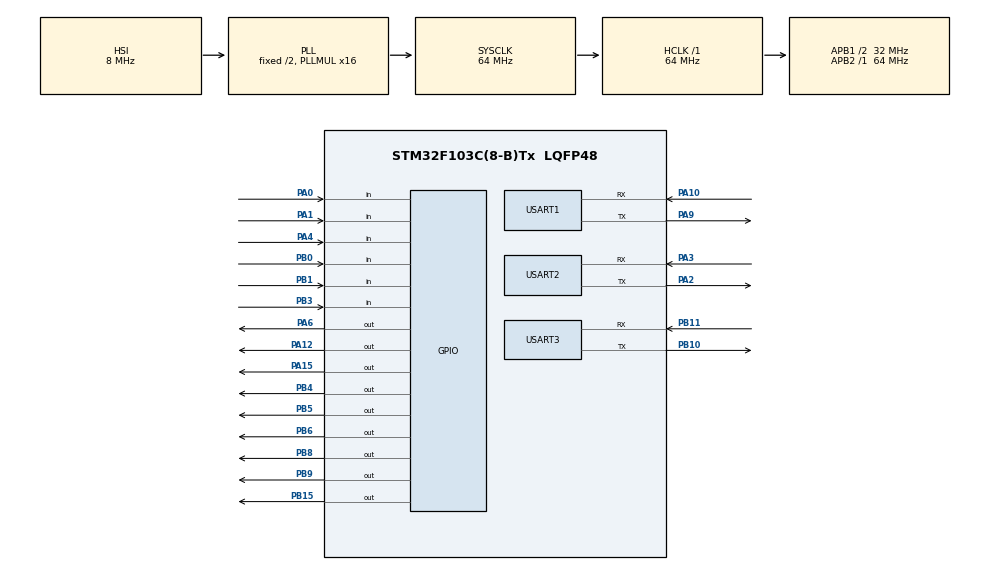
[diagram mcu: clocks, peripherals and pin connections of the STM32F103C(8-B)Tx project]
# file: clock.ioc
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Mcu.Family=STM32F1
Mcu.Name=STM32F103C(8-B)Tx
Mcu.Package=LQFP48
NVIC.PriorityGroup=NVIC_PRIORITYGROUP_4
NVIC.TIM1_BRK_IRQn=true\:9\:0\:true\:false\:true\:true\:true\:true
NVIC.TIM1_CC_IRQn=true\:6\:0\:true\:false\:true\:true\:true\:true
NVIC.TIM1_TRG_COM_IRQn=true\:7\:0\:true\:false\:true\:true\:true\:true
NVIC.TIM1_UP_IRQn=true\:8\:0\:true\:false\:true\:true\:true\:true
NVIC.TIM2_IRQn=true\:5\:0\:true\:false\:true\:true\:true\:true
NVIC.TIM4_IRQn=true\:10\:0\:true\:false\:true\:true\:true\:true
NVIC.USART1_IRQn=true\:11\:0\:true\:false\:true\:true\:true\:true
NVIC.USART2_IRQn=true\:12\:0\:true\:false\:true\:true\:true\:true
NVIC.USART3_IRQn=true\:13\:0\:true\:false\:true\:true\:true\:true
PA0-WKUP.GPIO_PuPd=GPIO_PULLUP
PA0-WKUP.Signal=GPIO_Input
PA1.GPIO_PuPd=GPIO_PULLUP
PA1.Signal=GPIO_Input
PA10.Mode=Asynchronous
PA10.Signal=USART1_RX
PA12.Signal=GPIO_Output
PA13.Mode=Serial_Wire
PA13.Signal=SYS_JTMS-SWDIO
PA14.Mode=Serial_Wire
PA14.Signal=SYS_JTCK-SWCLK
PA15.GPIO_Speed=GPIO_SPEED_FREQ_HIGH
PA15.Signal=GPIO_Output
PA2.Mode=Asynchronous
PA2.Signal=USART2_TX
PA3.Mode=Asynchronous
PA3.Signal=USART2_RX
PA4.GPIO_PuPd=GPIO_PULLUP
PA4.Signal=GPIO_Input
PA6.Signal=GPIO_Output
PA9.Mode=Asynchronous
PA9.Signal=USART1_TX
PB0.GPIO_PuPd=GPIO_PULLUP
PB0.Signal=GPIO_Input
PB1.GPIO_PuPd=GPIO_PULLUP
PB1.Signal=GPIO_Input
PB10.Mode=Asynchronous
PB10.Signal=USART3_TX
PB11.Mode=Asynchronous
PB11.Signal=USART3_RX
PB15.GPIO_Speed=GPIO_SPEED_FREQ_LOW
PB15.Signal=GPIO_Output
PB3.GPIO_PuPd=GPIO_PULLUP
PB3.Signal=GPIO_Input
PB4.GPIO_Speed=GPIO_SPEED_FREQ_HIGH
PB4.Signal=GPIO_Output
PB5.GPIO_Speed=GPIO_SPEED_FREQ_HIGH
PB5.Signal=GPIO_Output
PB6.GPIO_Speed=GPIO_SPEED_FREQ_HIGH
PB6.Signal=GPIO_Output
PB8.GPIO_Speed=GPIO_SPEED_FREQ_HIGH
PB8.Signal=GPIO_Output
PB9.GPIO_Speed=GPIO_SPEED_FREQ_HIGH
PB9.Signal=GPIO_Output
ProjectManager.HeapSize=0x200
ProjectManager.StackSize=0x400
ProjectManager.TargetToolchain=EWARM V8.32
RCC.AHBFreq_Value=64000000
RCC.APB1CLKDivider=RCC_HCLK_DIV2
RCC.APB1Freq_Value=32000000
RCC.APB1TimFreq_Value=64000000
RCC.APB2Freq_Value=64000000
RCC.APB2TimFreq_Value=64000000
RCC.HCLKFreq_Value=64000000
RCC.PLLMUL=RCC_PLL_MUL16
RCC.SYSCLKFreq_VALUE=64000000
RCC.SYSCLKSource=RCC_SYSCLKSOURCE_PLLCLK
RCC.USBFreq_Value=64000000
TIM1.AutoReloadPreload=TIM_AUTORELOAD_PRELOAD_ENABLE
TIM1.Period=9999
TIM1.Prescaler=63
TIM2.AutoReloadPreload=TIM_AUTORELOAD_PRELOAD_DISABLE
TIM2.Period=0xffff
TIM2.Prescaler=99
TIM3.AutoReloadPreload=TIM_AUTORELOAD_PRELOAD_ENABLE
TIM3.Period=999
TIM3.Prescaler=10999
TIM4.AutoReloadPreload=TIM_AUTORELOAD_PRELOAD_ENABLE
TIM4.Period=9999
TIM4.Prescaler=63
USART1.VirtualMode=VM_ASYNC
USART2.VirtualMode=VM_ASYNC
USART3.VirtualMode=VM_ASYNC
VP_TIM1_VS_ClockSourceINT.Mode=Internal
VP_TIM2_VS_ClockSourceINT.Mode=Internal
VP_TIM3_VS_ClockSourceINT.Mode=Internal
VP_TIM4_VS_ClockSourceINT.Mode=Internal
board=custom

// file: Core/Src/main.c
/* USER CODE BEGIN Header */
/**
  ******************************************************************************
  * @file           : main.c
  * @brief          : Main program body
  ******************************************************************************
  * @attention
  *
  * Copyright (c) 2025 STMicroelectronics.
  * All rights reserved.
  *
  * This software is licensed under terms that can be found in the LICENSE file
  * in the root directory of this software component.
  * If no LICENSE file comes with this software, it is provided AS-IS.
  *
  ******************************************************************************
  */
/* USER CODE END Header */
#include "main.h"

/* USER CODE BEGIN Includes */
#include "math.h"
#include <stdio.h>
/* USER CODE END Includes */

TIM_HandleTypeDef htim1;
TIM_HandleTypeDef htim2;
TIM_HandleTypeDef htim3;
TIM_HandleTypeDef htim4;

UART_HandleTypeDef huart1;
UART_HandleTypeDef huart2;
UART_HandleTypeDef huart3;

void SystemClock_Config(void);
static void MX_GPIO_Init(void);
static void MX_TIM2_Init(void);
static void MX_TIM1_Init(void);
static void MX_TIM3_Init(void);
static void MX_TIM4_Init(void);
static void MX_USART1_UART_Init(void);
static void MX_USART2_UART_Init(void);
static void MX_USART3_UART_Init(void);

/* USER CODE BEGIN 0 */
#define max 1000
#define min 99
#define PI 3.14159265359
#define dirX_Pin GPIO_PIN_6 // Replace with your actual pin
#define dirY_Pin GPIO_PIN_8 // Replace with your actual pin
#define dirZ_Pin GPIO_PIN_15 // Replace with your actual pin
#define stepX_Pin GPIO_PIN_5 // Replace with your actual pin
#define stepY_Pin GPIO_PIN_9 // Replace with your actual pin
#define stepZ_Pin GPIO_PIN_4 // Replace with your actual pin

#define dirX_GPIO_Port GPIOB // Replace with your actual GPIO port
#define dirY_GPIO_Port GPIOB // Replace with your actual GPIO port
#define dirZ_GPIO_Port GPIOA // Replace with your actual GPIO port
#define stepX_GPIO_Port GPIOB // Replace with your actual GPIO port
#define stepY_GPIO_Port GPIOB // Replace with your actual GPIO port
#define stepZ_GPIO_Port GPIOB // Replace with your actual GPIO port
#define ACCELERATION_STEPS 100 // Replace with your actual GPIO port
#define MAX_SPEED_DELAY 500

uint16_t pwm;
uint8_t run;
float delay_time = 200; // Ð? tr? t?i thi?u trong us
float GX,GY;
float tempx,tempy;
float L1=235;
float L2=212;
int16_t x,y;
int32_t z;
uint8_t stopx,stopy,stopz;
uint8_t data[12];
uint16_t data_size;
uint8_t string[2] ="OK";
void clear_data(uint8_t *arr, int size)
{
  for (int i = 0; i < size; i++)
  {
    arr[i] = 0x00; // Ho?c b?t k? giá tr? nào b?n mu?n d?t l?i
  }
}
void start_status(void)
{
  for(int i=0; i<10;i++)
  {
    HAL_GPIO_WritePin(GPIOA,GPIO_PIN_12,GPIO_PIN_RESET);
    HAL_GPIO_WritePin(GPIOB,GPIO_PIN_15,GPIO_PIN_SET);
    HAL_Delay(100);
    HAL_GPIO_WritePin(GPIOA,GPIO_PIN_12,GPIO_PIN_SET);
    HAL_GPIO_WritePin(GPIOB,GPIO_PIN_15,GPIO_PIN_RESET);
    HAL_Delay(100);
  }
  HAL_GPIO_WritePin(GPIOA,GPIO_PIN_12,GPIO_PIN_SET);
  HAL_GPIO_WritePin(GPIOB,GPIO_PIN_15,GPIO_PIN_SET);
}
void delay_us(uint16_t us)
{
    __HAL_TIM_SET_COUNTER(&htim2, 0);  // Ð?t l?i b? d?m Timer v? 0
    HAL_TIM_Base_Start(&htim2);        // B?t d?u Timer
    while (__HAL_TIM_GET_COUNTER(&htim2) < us);  // Ch? cho d?n khi d?m d? s? micro giây
    HAL_TIM_Base_Stop(&htim2);         // D?ng Timer
}
void move(float angelX, float angelY,float*tempx,float*tempy)
{
		if(angelX!=*tempx)
		{

			angelX=angelX-(*tempx);
			*tempx=angelX+(*tempx);

		}
		else
		{
			angelX=0;
			*tempx=*tempx;
		}
		if(angelY!=*tempy)
		{

			angelY=angelY-(*tempy);
			*tempy=angelY+(*tempy);
		}
		else
		{
			angelY=0;
			*tempy=*tempy;
		}
    float pulseX = fabs(2*angelX) * 31.08;
    float pulseY_ro = fabs(2*angelY) *51.771;
    float pulseY_sup = fabs(2*angelX) *51.771 * 0.532;
    float pulseY;
    float higher_stepper;
    float lower_stepper;

    if (angelX < 0){
        HAL_GPIO_WritePin(dirX_GPIO_Port, dirX_Pin, GPIO_PIN_SET);
        if (angelY <= 0){
            HAL_GPIO_WritePin(dirY_GPIO_Port, dirY_Pin, GPIO_PIN_SET);
            pulseY = pulseY_ro + pulseY_sup;
        }
        if (angelY > 0){
            if (pulseY_ro > pulseY_sup){
                HAL_GPIO_WritePin(dirY_GPIO_Port, dirY_Pin, GPIO_PIN_RESET);
                pulseY = pulseY_ro - pulseY_sup;
            } else {
                HAL_GPIO_WritePin(dirY_GPIO_Port, dirY_Pin, GPIO_PIN_SET);
                pulseY = -pulseY_ro + pulseY_sup;
            }
        }
    } else if (angelX > 0){
        HAL_GPIO_WritePin(dirX_GPIO_Port, dirX_Pin, GPIO_PIN_RESET);
        if (angelY >= 0){
            HAL_GPIO_WritePin(dirY_GPIO_Port, dirY_Pin, GPIO_PIN_RESET);
            pulseY = pulseY_ro + pulseY_sup;
        }
        if (angelY < 0){
            if (pulseY_ro > pulseY_sup){
                HAL_GPIO_WritePin(dirY_GPIO_Port, dirY_Pin, GPIO_PIN_SET);
                pulseY = pulseY_ro - pulseY_sup;
            } else {
                HAL_GPIO_WritePin(dirY_GPIO_Port, dirY_Pin, GPIO_PIN_RESET);
                pulseY = -pulseY_ro + pulseY_sup;
            }
        }
    } else {
        if (angelY < 0){
            HAL_GPIO_WritePin(dirY_GPIO_Port, dirY_Pin, GPIO_PIN_SET);
            pulseY = pulseY_ro + pulseY_sup;
        } else if (angelY > 0){
            HAL_GPIO_WritePin(dirY_GPIO_Port, dirY_Pin, GPIO_PIN_RESET);
            pulseY = pulseY_ro + pulseY_sup;
        }
    }

    int higher_steppin;
    int lower_steppin;

    if (pulseX > pulseY){
        higher_stepper = pulseX;
        lower_stepper = pulseY;
        higher_steppin = stepX_Pin;
        lower_steppin = stepY_Pin;
    } else if (pulseX < pulseY){
        higher_stepper = pulseY;
        lower_stepper = pulseX;
        higher_steppin = stepY_Pin;
        lower_steppin = stepX_Pin;
    } else {
        higher_stepper = pulseX;
        lower_stepper = pulseY;
        higher_steppin = stepX_Pin;
        lower_steppin = stepY_Pin;
    }

    float rate = higher_stepper / lower_stepper;
    int temp = 0;
    int steps = (int)higher_stepper;

    for (int i = 0; i <= steps; i++){
        if(i / rate - temp >= 1){
            HAL_GPIO_WritePin(GPIOB, lower_steppin, GPIO_PIN_SET);
            temp++;
        }
        HAL_GPIO_WritePin(GPIOB, higher_steppin, GPIO_PIN_SET);
        delay_us((uint16_t)delay_time);
        HAL_GPIO_WritePin(GPIOB, higher_steppin, GPIO_PIN_RESET);
        HAL_GPIO_WritePin(GPIOB, lower_steppin, GPIO_PIN_RESET);
        delay_us((uint16_t)delay_time);
    }

}
void movez(int pul)
{
  if(pul<0)
  {
    pul=-pul;
    HAL_GPIO_WritePin(dirZ_GPIO_Port, dirZ_Pin, GPIO_PIN_RESET);
  }
  else
  {
    pul=pul;
    HAL_GPIO_WritePin(dirZ_GPIO_Port, dirZ_Pin, GPIO_PIN_SET);
  }

  for (int i = 0; i <= pul; i++)
  {

        HAL_GPIO_WritePin(stepZ_GPIO_Port, stepZ_Pin, GPIO_PIN_SET);
        delay_us(50);
        HAL_GPIO_WritePin(stepZ_GPIO_Port, stepZ_Pin, GPIO_PIN_RESET);
        delay_us(50);

  }
}
void home(void)
{
  HAL_GPIO_WritePin(dirZ_GPIO_Port, dirZ_Pin, GPIO_PIN_SET);
  for (int i = 0; i <= 1000000; i++)
  {
    if(stopz!=1)
    {
        HAL_GPIO_WritePin(stepZ_GPIO_Port, stepZ_Pin, GPIO_PIN_SET);
        delay_us(20);
        HAL_GPIO_WritePin(stepZ_GPIO_Port, stepZ_Pin, GPIO_PIN_RESET);
        delay_us(20);
    }
    else
    {
      break;
    }
  }

  HAL_GPIO_WritePin(GPIOB, GPIO_PIN_8, GPIO_PIN_RESET);
  for (int i = 0; i <= 1000000; i++)
  {
    if(stopy!=1)
    {
        HAL_GPIO_WritePin(GPIOB, GPIO_PIN_9, GPIO_PIN_SET);
        delay_us(100);
        HAL_GPIO_WritePin(GPIOB, GPIO_PIN_9, GPIO_PIN_RESET);
        delay_us(100);
    }
    else
    {
      break;
    }
  }

  delay_time=55;
  tempx=0;
  tempy=0;
  move(0,-168.4,&tempx,&tempy);

  HAL_GPIO_WritePin(GPIOB, GPIO_PIN_6, GPIO_PIN_SET);
  for (int i = 0; i <= 1000000; i++)
  {
    if(stopx!=1)
    {
        HAL_GPIO_WritePin(GPIOB, GPIO_PIN_5, GPIO_PIN_SET);
        delay_us(250);
        HAL_GPIO_WritePin(GPIOB, GPIO_PIN_5, GPIO_PIN_RESET);
        delay_us(250);
    }
    else
    {
      break;
    }
  }
   HAL_GPIO_WritePin(GPIOB, GPIO_PIN_8, GPIO_PIN_RESET);
  for (int i = 0; i <= 1000000; i++)
  {
    if(stopy!=1)
    {
        HAL_GPIO_WritePin(GPIOB, GPIO_PIN_9, GPIO_PIN_SET);
        delay_us(100);
        HAL_GPIO_WritePin(GPIOB, GPIO_PIN_9, GPIO_PIN_RESET);
        delay_us(100);
    }
    else
    {
      break;
    }
  }
  tempx=0;
  tempy=0;
  delay_time=55;
  move(23.5,-169,&tempx,&tempy);
  tempx=0;
  tempy=0;
  delay_time=70;
}
void inverse_kinematics(float x, float y, float L1, float L2, float *theta1, float *theta2)
{
    // Tính toán hai nghi?m c?a góc th? hai
    float cos_theta2 = (x * x + y * y - L1 * L1 - L2 * L2) / (2 * L1 * L2);
    cos_theta2 = fmin(fmax(cos_theta2, -1.0), 1.0);  // Gi?i h?n giá tr? c?a cos_theta2 t? -1 d?n 1
    float theta2_1 = acos(cos_theta2);
    float theta2_2 = -theta2_1;

    // Tính toán hai nghi?m c?a góc th? nh?t
    float theta1_1 = atan2(y, x) - asin(fmin(fmax((L2 * sin(theta2_1)) / sqrt(x * x + y * y), -1.0), 1.0));
    float theta1_2 = atan2(y, x) - asin(fmin(fmax((L2 * sin(theta2_2)) / sqrt(x * x + y * y), -1.0), 1.0));

    // Chuy?n d?i góc t? radian sang d?
    float theta1_1_deg = theta1_1 * 180.0 / PI;
    float theta2_1_deg = theta2_1 * 180.0 / PI;
    float theta1_2_deg = theta1_2 * 180.0 / PI;
    float theta2_2_deg = theta2_2 * 180.0 / PI;

    // Gi?i h?n giá tr? c?a theta1 và theta2 theo yêu c?u
    if (-20 <= theta1_1_deg && theta1_1_deg <= 200 && -170 <= theta2_1_deg && theta2_1_deg <= 170) {
        *theta1 = theta1_1_deg;
        *theta2 = theta2_1_deg;
    } else if (-20 <= theta1_2_deg && theta1_2_deg <= 200 && -170 <= theta2_2_deg && theta2_2_deg <= 170) {
        *theta1 = theta1_2_deg;
        *theta2 = theta2_2_deg;
    } else {
        // N?u không tìm du?c giá tr? th?a mãn, gán giá tr? d?c bi?t
        *theta1 = NAN;
        *theta2 = NAN;
    }
}
void check_ipnut(void)
{
  if(HAL_GPIO_ReadPin(GPIOA,GPIO_PIN_1)==0)
  {
    stopx=1;
  }
  else
  {
    stopx=0;
  }
  if(HAL_GPIO_ReadPin(GPIOA,GPIO_PIN_4)==0)
  {
    stopy=1;
  }
  else
  {
    stopy=0;
  }
  if(HAL_GPIO_ReadPin(GPIOA,GPIO_PIN_0)==0)
  {
    stopz=1;
  }
  else
  {
    stopz=0;
  }
  if(HAL_GPIO_ReadPin(GPIOB,GPIO_PIN_0)==0)
  {
    run=2;
  }

}
void robot_check(void)
{
    if(run!=0)
    {
        HAL_GPIO_WritePin(GPIOB,GPIO_PIN_15,GPIO_PIN_RESET);
    }
    else
    {
        HAL_GPIO_WritePin(GPIOB,GPIO_PIN_15,GPIO_PIN_SET);
    }
    if(run==1)
    {
        inverse_kinematics(x,y,L1,L2,&GX,&GY);
        move(GX,GY,&tempx,&tempy);
        movez(z);
        run=0;
    }
    else if(run==2)
    {
        home();
        run=0;
    }
}
void convert_xy(char dat1, char dat2, int16_t *x, int16_t *y)
{
  if(dat1=='a')
  {
    if(dat2=='1') { *x=112; *y=345; }
    else if(dat2=='2') { *x=111; *y=311; }
    else if(dat2=='3') { *x=113; *y=279; }
    else if(dat2=='4') { *x=113; *y=247; }
    else if(dat2=='5') { *x=113; *y=214; }
    else if(dat2=='6') { *x=116; *y=184; }
    else if(dat2=='7') { *x=114; *y=149; }
    else if(dat2=='8') { *x=111; *y=115; }
  }
  else if(dat1=='b')
  {
    if(dat2=='1') { *x=76; *y=342; }
    else if(dat2=='2') { *x=79; *y=311; }
    else if(dat2=='3') { *x=81; *y=279; }
    else if(dat2=='4') { *x=80; *y=240; }
    else if(dat2=='5') { *x=81; *y=215; }
    else if(dat2=='6') { *x=82; *y=183; }
    else if(dat2=='7') { *x=81; *y=149; }
    else if(dat2=='8') { *x=80; *y=115; }
  }
  else if(dat1=='c')
  {
    if(dat2=='1') { *x=44; *y=342; }
    else if(dat2=='2') { *x=47; *y=312; }
    else if(dat2=='3') { *x=49; *y=280; }
    else if(dat2=='4') { *x=48; *y=250; }
    else if(dat2=='5') { *x=49; *y=218; }
    else if(dat2=='6') { *x=48; *y=185; }
    else if(dat2=='7') { *x=49; *y=151; }
    else if(dat2=='8') { *x=48; *y=118; }
  }
  else if(dat1=='d')
  {
    if(dat2=='1') { *x=12; *y=344; }
    else if(dat2=='2') { *x=14; *y=312; }
    else if(dat2=='3') { *x=16; *y=282; }
    else if(dat2=='4') { *x=16; *y=250; }
    else if(dat2=='5') { *x=15; *y=218; }
    else if(dat2=='6') { *x=15; *y=184; }
    else if(dat2=='7') { *x=16; *y=155; }
    else if(dat2=='8') { *x=16; *y=119; }
  }
  else if(dat1=='e')
  {
    if(dat2=='1') { *x=-23; *y=344; }
    else if(dat2=='2') { *x=-18; *y=312; }
    else if(dat2=='3') { *x=-16; *y=283; }
    else if(dat2=='4') { *x=-18; *y=249; }
    else if(dat2=='5') { *x=-19; *y=218; }
    else if(dat2=='6') { *x=-18; *y=187; }
    else if(dat2=='7') { *x=-18; *y=156; }
    else if(dat2=='8') { *x=-19; *y=120; }
  }
  else if(dat1=='f')
  {
    if(dat2=='1') { *x=-53; *y=344; }
    else if(dat2=='2') { *x=-52; *y=312; }
    else if(dat2=='3') { *x=-50; *y=282; }
    else if(dat2=='4') { *x=-51; *y=250; }
    else if(dat2=='5') { *x=-51; *y=219; }
    else if(dat2=='6') { *x=-51; *y=189; }
    else if(dat2=='7') { *x=-52; *y=155; }
    else if(dat2=='8') { *x=-51; *y=121; }
  }
  else if(dat1=='g')
  {
    if(dat2=='1') { *x=-87; *y=343; }
    else if(dat2=='2') { *x=-84; *y=313; }
    else if(dat2=='3') { *x=-84; *y=282; }
    else if(dat2=='4') { *x=-83; *y=250; }
    else if(dat2=='5') { *x=-85; *y=218; }
    else if(dat2=='6') { *x=-85; *y=189; }
    else if(dat2=='7') { *x=-86; *y=155; }
    else if(dat2=='8') { *x=-85; *y=120; }
  }
  else if(dat1=='h')
  {
    if(dat2=='1') { *x=-117; *y=344; }
    else if(dat2=='2') { *x=-117; *y=312; }
    else if(dat2=='3') { *x=-117; *y=281; }
    else if(dat2=='4') { *x=-116; *y=249; }
    else if(dat2=='5') { *x=-118; *y=220; }
    else if(dat2=='6') { *x=-118; *y=187; }
    else if(dat2=='7') { *x=-119; *y=157; }
    else if(dat2=='8') { *x=-118; *y=120; }
  }
}
uint16_t convert_pos_z(char dat)
{
    switch (dat)
    {
        case 'r' : return 60000;//
        case 'n' : return 60000;
        case 'b' : return 55000;//
        case 'k' : return 46000;//
        case 'q' : return 46000;//
        case 'p' : return 62000;//
        default: return 0;
    }
}
void data_process(void)
{
  if(data[5]=='*')
  {
    /////di toi x,y 1
    convert_xy(data[1],data[2],&x,&y);
    inverse_kinematics(x, y, L1, L2, &GX, &GY);
    move(GX,GY,&tempx,&tempy);
    /////tha ra
    HAL_GPIO_WritePin(GPIOA,GPIO_PIN_6,GPIO_PIN_RESET);

    /////ha xuong
    movez(-convert_pos_z(data[0]));
    /////gap
    HAL_GPIO_WritePin(GPIOA,GPIO_PIN_6,GPIO_PIN_SET);

    /////nang len
    movez(convert_pos_z(data[0]));
    /////di toi x,y 2
    convert_xy(data[3],data[4],&x,&y);
    inverse_kinematics(x, y, L1, L2, &GX, &GY);
    move(GX,GY,&tempx,&tempy);
    /////ha xuong
    movez(-convert_pos_z(data[0]));
    /////tha ra
    HAL_GPIO_WritePin(GPIOA,GPIO_PIN_6,GPIO_PIN_RESET);
    HAL_Delay(1000);
    /////nang len
    movez(convert_pos_z(data[0]));
    //xoa data
    clear_data(data,12);
    HAL_GPIO_WritePin(GPIOA,GPIO_PIN_12,GPIO_PIN_RESET);
    //ve home
    move(0,0,&tempx,&tempy);
    HAL_UART_Transmit(&huart1,string,2,1000);
  }
  else if(data[7]=='*')
  {
    ////di toi x,y 2
    convert_xy(data[5],data[6],&x,&y);
    inverse_kinematics(x, y, L1, L2, &GX, &GY);
    move(GX,GY,&tempx,&tempy);
    /////tha ra
    HAL_GPIO_WritePin(GPIOA,GPIO_PIN_6,GPIO_PIN_RESET);
    /////ha xuong
    movez(-convert_pos_z(data[4]));
    /////gap
    HAL_GPIO_WritePin(GPIOA,GPIO_PIN_6,GPIO_PIN_SET);
    /////nang len
    movez(convert_pos_z(data[4]));
    /////di toi x,y tha co
    move(0,0,&tempx,&tempy);
    /////tha ra
    HAL_GPIO_WritePin(GPIOA,GPIO_PIN_6,GPIO_PIN_RESET);
    ////di toi x,y 1
    convert_xy(data[1],data[2],&x,&y);
    inverse_kinematics(x, y, L1, L2, &GX, &GY);
    move(GX,GY,&tempx,&tempy);
    /////ha xuong
    movez(-convert_pos_z(data[0]));
    /////gap
    HAL_GPIO_WritePin(GPIOA,GPIO_PIN_6,GPIO_PIN_SET);
    /////nang len
    movez(convert_pos_z(data[0]));
    ////di toi x,y 2
    convert_xy(data[5],data[6],&x,&y);
    inverse_kinematics(x, y, L1, L2, &GX, &GY);
    move(GX,GY,&tempx,&tempy);
    /////ha xuong
    movez(-convert_pos_z(data[0]));
    /////tha ra
    HAL_GPIO_WritePin(GPIOA,GPIO_PIN_6,GPIO_PIN_RESET);
    /////nang len
    movez(convert_pos_z(data[0]));
    //xoa data
    clear_data(data,12);
    HAL_GPIO_WritePin(GPIOA,GPIO_PIN_12,GPIO_PIN_RESET);
    //ve home
    move(0,0,&tempx,&tempy);
    HAL_UART_Transmit(&huart1,string,2,1000);
  }
  else if(data[9]=='*')
  {
    /////di toi x,y 1
    convert_xy(data[1],data[2],&x,&y);
    inverse_kinematics(x, y, L1, L2, &GX, &GY);
    move(GX,GY,&tempx,&tempy);
    /////tha ra
    HAL_GPIO_WritePin(GPIOA,GPIO_PIN_6,GPIO_PIN_RESET);
    /////ha xuong
    movez(-convert_pos_z(data[0]));
    /////gap
    HAL_GPIO_WritePin(GPIOA,GPIO_PIN_6,GPIO_PIN_SET);
    /////nang len
    movez(convert_pos_z(data[0]));
    /////di toi x,y 2
    convert_xy(data[3],data[4],&x,&y);
    inverse_kinematics(x, y, L1, L2, &GX, &GY);
    move(GX,GY,&tempx,&tempy);
    /////ha xuong
    movez(-convert_pos_z(data[0]));
    /////tha ra
    HAL_GPIO_WritePin(GPIOA,GPIO_PIN_6,GPIO_PIN_RESET);
    /////nang len
    movez(convert_pos_z(data[0]));
    /////di toi x,y 3
    convert_xy(data[7],data[8],&x,&y);
    inverse_kinematics(x, y, L1, L2, &GX, &GY);
    move(GX,GY,&tempx,&tempy);
    /////tha ra
    HAL_GPIO_WritePin(GPIOA,GPIO_PIN_6,GPIO_PIN_RESET);
    /////ha xuong
    movez(-convert_pos_z(data[6]));
    /////gap
    HAL_GPIO_WritePin(GPIOA,GPIO_PIN_6,GPIO_PIN_SET);
    /////nang len
    movez(convert_pos_z(data[6]));
    /////di toi x,y 4
    convert_xy(data[9],data[10],&x,&y);
    inverse_kinematics(x, y, L1, L2, &GX, &GY);
    move(GX,GY,&tempx,&tempy);
    /////ha xuong
    movez(-convert_pos_z(data[6]));
    /////tha ra
    HAL_GPIO_WritePin(GPIOA,GPIO_PIN_6,GPIO_PIN_RESET);
    /////nang len
    movez(convert_pos_z(data[6]));
    clear_data(data,12);
    HAL_GPIO_WritePin(GPIOA,GPIO_PIN_12,GPIO_PIN_SET);
    //ve home
    move(0,0,&tempx,&tempy);
    HAL_UART_Transmit(&huart1,string,2,1000);
  }
}
void HAL_TIM_PeriodElapsedCallback(TIM_HandleTypeDef *htim)
{
  if(htim->Instance==TIM1)
  {
    check_ipnut();

  }
  if(htim->Instance==TIM4)
  {

  }
}
void HAL_UART_RxCpltCallback(UART_HandleTypeDef *huart)
{
  if (huart->Instance == USART1)
  {
    HAL_UART_Receive_IT(&huart1,data,12);
    HAL_GPIO_WritePin(GPIOA,GPIO_PIN_12,GPIO_PIN_RESET);
  }
}
/* USER CODE END 0 */

int main(void)
{

  /* MCU Configuration--------------------------------------------------------*/

  /* Reset of all peripherals, Initializes the Flash interface and the Systick. */
  HAL_Init();

  /* Configure the system clock */
  SystemClock_Config();

  /* Initialize all configured peripherals */
  MX_GPIO_Init();
  MX_TIM2_Init();
  MX_TIM1_Init();
  MX_TIM3_Init();
  MX_TIM4_Init();
  MX_USART1_UART_Init();
  MX_USART2_UART_Init();
  MX_USART3_UART_Init();
  /* USER CODE BEGIN 2 */
  HAL_TIM_Base_Start_IT(&htim1);
  HAL_TIM_Base_Start_IT(&htim4);

  HAL_UART_Receive_IT(&huart1,data,12);
  start_status();

  /* USER CODE END 2 */

  /* Infinite loop */
  while (1)
  {

    /* USER CODE BEGIN 3 */

   robot_check();
   data_process();

   HAL_Delay(50);

  }
  /* USER CODE END 3 */
}

void SystemClock_Config(void)
{
  RCC_OscInitTypeDef RCC_OscInitStruct = {0};
  RCC_ClkInitTypeDef RCC_ClkInitStruct = {0};

  /** Initializes the RCC Oscillators according to the specified parameters
  * in the RCC_OscInitTypeDef structure.
  */
  RCC_OscInitStruct.OscillatorType = RCC_OSCILLATORTYPE_HSI;
  RCC_OscInitStruct.HSIState = RCC_HSI_ON;
  RCC_OscInitStruct.HSICalibrationValue = RCC_HSICALIBRATION_DEFAULT;
  RCC_OscInitStruct.PLL.PLLState = RCC_PLL_ON;
  RCC_OscInitStruct.PLL.PLLSource = RCC_PLLSOURCE_HSI_DIV2;
  RCC_OscInitStruct.PLL.PLLMUL = RCC_PLL_MUL16;
  if (HAL_RCC_OscConfig(&RCC_OscInitStruct) != HAL_OK)
  {
    Error_Handler();
  }

  /** Initializes the CPU, AHB and APB buses clocks
  */
  RCC_ClkInitStruct.ClockType = RCC_CLOCKTYPE_HCLK|RCC_CLOCKTYPE_SYSCLK
                              |RCC_CLOCKTYPE_PCLK1|RCC_CLOCKTYPE_PCLK2;
  RCC_ClkInitStruct.SYSCLKSource = RCC_SYSCLKSOURCE_PLLCLK;
  RCC_ClkInitStruct.AHBCLKDivider = RCC_SYSCLK_DIV1;
  RCC_ClkInitStruct.APB1CLKDivider = RCC_HCLK_DIV2;
  RCC_ClkInitStruct.APB2CLKDivider = RCC_HCLK_DIV1;

  if (HAL_RCC_ClockConfig(&RCC_ClkInitStruct, FLASH_LATENCY_2) != HAL_OK)
  {
    Error_Handler();
  }
}

static void MX_TIM1_Init(void)
{

  TIM_ClockConfigTypeDef sClockSourceConfig = {0};
  TIM_MasterConfigTypeDef sMasterConfig = {0};

  htim1.Instance = TIM1;
  htim1.Init.Prescaler = 63;
  htim1.Init.CounterMode = TIM_COUNTERMODE_UP;
  htim1.Init.Period = 9999;
  htim1.Init.ClockDivision = TIM_CLOCKDIVISION_DIV1;
  htim1.Init.RepetitionCounter = 0;
  htim1.Init.AutoReloadPreload = TIM_AUTORELOAD_PRELOAD_ENABLE;
  if (HAL_TIM_Base_Init(&htim1) != HAL_OK)
  {
    Error_Handler();
  }
  sClockSourceConfig.ClockSource = TIM_CLOCKSOURCE_INTERNAL;
  if (HAL_TIM_ConfigClockSource(&htim1, &sClockSourceConfig) != HAL_OK)
  {
    Error_Handler();
  }
  sMasterConfig.MasterOutputTrigger = TIM_TRGO_RESET;
  sMasterConfig.MasterSlaveMode = TIM_MASTERSLAVEMODE_DISABLE;
  if (HAL_TIMEx_MasterConfigSynchronization(&htim1, &sMasterConfig) != HAL_OK)
  {
    Error_Handler();
  }

}

static void MX_TIM2_Init(void)
{

  TIM_ClockConfigTypeDef sClockSourceConfig = {0};
  TIM_MasterConfigTypeDef sMasterConfig = {0};

  htim2.Instance = TIM2;
  htim2.Init.Prescaler = 99;
  htim2.Init.CounterMode = TIM_COUNTERMODE_UP;
  htim2.Init.Period = 0xffff;
  htim2.Init.ClockDivision = TIM_CLOCKDIVISION_DIV1;
  htim2.Init.AutoReloadPreload = TIM_AUTORELOAD_PRELOAD_DISABLE;
  if (HAL_TIM_Base_Init(&htim2) != HAL_OK)
  {
    Error_Handler();
  }
  sClockSourceConfig.ClockSource = TIM_CLOCKSOURCE_INTERNAL;
  if (HAL_TIM_ConfigClockSource(&htim2, &sClockSourceConfig) != HAL_OK)
  {
    Error_Handler();
  }
  sMasterConfig.MasterOutputTrigger = TIM_TRGO_RESET;
  sMasterConfig.MasterSlaveMode = TIM_MASTERSLAVEMODE_DISABLE;
  if (HAL_TIMEx_MasterConfigSynchronization(&htim2, &sMasterConfig) != HAL_OK)
  {
    Error_Handler();
  }

}

static void MX_TIM3_Init(void)
{

  TIM_ClockConfigTypeDef sClockSourceConfig = {0};
  TIM_MasterConfigTypeDef sMasterConfig = {0};

  htim3.Instance = TIM3;
  htim3.Init.Prescaler = 10999;
  htim3.Init.CounterMode = TIM_COUNTERMODE_UP;
  htim3.Init.Period = 999;
  htim3.Init.ClockDivision = TIM_CLOCKDIVISION_DIV1;
  htim3.Init.AutoReloadPreload = TIM_AUTORELOAD_PRELOAD_ENABLE;
  if (HAL_TIM_Base_Init(&htim3) != HAL_OK)
  {
    Error_Handler();
  }
  sClockSourceConfig.ClockSource = TIM_CLOCKSOURCE_INTERNAL;
  if (HAL_TIM_ConfigClockSource(&htim3, &sClockSourceConfig) != HAL_OK)
  {
    Error_Handler();
  }
  sMasterConfig.MasterOutputTrigger = TIM_TRGO_RESET;
  sMasterConfig.MasterSlaveMode = TIM_MASTERSLAVEMODE_DISABLE;
  if (HAL_TIMEx_MasterConfigSynchronization(&htim3, &sMasterConfig) != HAL_OK)
  {
    Error_Handler();
  }

}

static void MX_TIM4_Init(void)
{

  TIM_ClockConfigTypeDef sClockSourceConfig = {0};
  TIM_MasterConfigTypeDef sMasterConfig = {0};

  htim4.Instance = TIM4;
  htim4.Init.Prescaler = 63;
  htim4.Init.CounterMode = TIM_COUNTERMODE_UP;
  htim4.Init.Period = 9999;
  htim4.Init.ClockDivision = TIM_CLOCKDIVISION_DIV1;
  htim4.Init.AutoReloadPreload = TIM_AUTORELOAD_PRELOAD_ENABLE;
  if (HAL_TIM_Base_Init(&htim4) != HAL_OK)
  {
    Error_Handler();
  }
  sClockSourceConfig.ClockSource = TIM_CLOCKSOURCE_INTERNAL;
  if (HAL_TIM_ConfigClockSource(&htim4, &sClockSourceConfig) != HAL_OK)
  {
    Error_Handler();
  }
  sMasterConfig.MasterOutputTrigger = TIM_TRGO_RESET;
  sMasterConfig.MasterSlaveMode = TIM_MASTERSLAVEMODE_DISABLE;
  if (HAL_TIMEx_MasterConfigSynchronization(&htim4, &sMasterConfig) != HAL_OK)
  {
    Error_Handler();
  }

}

static void MX_USART1_UART_Init(void)
{

  huart1.Instance = USART1;
  huart1.Init.BaudRate = 115200;
  huart1.Init.WordLength = UART_WORDLENGTH_8B;
  huart1.Init.StopBits = UART_STOPBITS_1;
  huart1.Init.Parity = UART_PARITY_NONE;
  huart1.Init.Mode = UART_MODE_TX_RX;
  huart1.Init.HwFlowCtl = UART_HWCONTROL_NONE;
  huart1.Init.OverSampling = UART_OVERSAMPLING_16;
  if (HAL_UART_Init(&huart1) != HAL_OK)
  {
    Error_Handler();
  }

}

static void MX_USART2_UART_Init(void)
{

  huart2.Instance = USART2;
  huart2.Init.BaudRate = 115200;
  huart2.Init.WordLength = UART_WORDLENGTH_8B;
  huart2.Init.StopBits = UART_STOPBITS_1;
  huart2.Init.Parity = UART_PARITY_NONE;
  huart2.Init.Mode = UART_MODE_TX_RX;
  huart2.Init.HwFlowCtl = UART_HWCONTROL_NONE;
  huart2.Init.OverSampling = UART_OVERSAMPLING_16;
  if (HAL_UART_Init(&huart2) != HAL_OK)
  {
    Error_Handler();
  }

}

static void MX_USART3_UART_Init(void)
{

  huart3.Instance = USART3;
  huart3.Init.BaudRate = 115200;
  huart3.Init.WordLength = UART_WORDLENGTH_8B;
  huart3.Init.StopBits = UART_STOPBITS_1;
  huart3.Init.Parity = UART_PARITY_NONE;
  huart3.Init.Mode = UART_MODE_TX_RX;
  huart3.Init.HwFlowCtl = UART_HWCONTROL_NONE;
  huart3.Init.OverSampling = UART_OVERSAMPLING_16;
  if (HAL_UART_Init(&huart3) != HAL_OK)
  {
    Error_Handler();
  }

}

static void MX_GPIO_Init(void)
{
  GPIO_InitTypeDef GPIO_InitStruct = {0};

  /* GPIO Ports Clock Enable */
  __HAL_RCC_GPIOA_CLK_ENABLE();
  __HAL_RCC_GPIOB_CLK_ENABLE();

  /*Configure GPIO pin Output Level */
  HAL_GPIO_WritePin(GPIOA, GPIO_PIN_6|GPIO_PIN_12|GPIO_PIN_15, GPIO_PIN_RESET);

  /*Configure GPIO pin Output Level */
  HAL_GPIO_WritePin(GPIOB, GPIO_PIN_15|GPIO_PIN_4|GPIO_PIN_5|GPIO_PIN_6
                          |GPIO_PIN_8|GPIO_PIN_9, GPIO_PIN_RESET);

  /*Configure GPIO pins : PA0 PA1 PA4 */
  GPIO_InitStruct.Pin = GPIO_PIN_0|GPIO_PIN_1|GPIO_PIN_4;
  GPIO_InitStruct.Mode = GPIO_MODE_INPUT;
  GPIO_InitStruct.Pull = GPIO_PULLUP;
  HAL_GPIO_Init(GPIOA, &GPIO_InitStruct);

  /*Configure GPIO pins : PA6 PA12 */
  GPIO_InitStruct.Pin = GPIO_PIN_6|GPIO_PIN_12;
  GPIO_InitStruct.Mode = GPIO_MODE_OUTPUT_PP;
  GPIO_InitStruct.Pull = GPIO_NOPULL;
  GPIO_InitStruct.Speed = GPIO_SPEED_FREQ_LOW;
  HAL_GPIO_Init(GPIOA, &GPIO_InitStruct);

  /*Configure GPIO pins : PB0 PB1 PB3 */
  GPIO_InitStruct.Pin = GPIO_PIN_0|GPIO_PIN_1|GPIO_PIN_3;
  GPIO_InitStruct.Mode = GPIO_MODE_INPUT;
  GPIO_InitStruct.Pull = GPIO_PULLUP;
  HAL_GPIO_Init(GPIOB, &GPIO_InitStruct);

  /*Configure GPIO pin : PB15 */
  GPIO_InitStruct.Pin = GPIO_PIN_15;
  GPIO_InitStruct.Mode = GPIO_MODE_OUTPUT_PP;
  GPIO_InitStruct.Pull = GPIO_NOPULL;
  GPIO_InitStruct.Speed = GPIO_SPEED_FREQ_LOW;
  HAL_GPIO_Init(GPIOB, &GPIO_InitStruct);

  /*Configure GPIO pin : PA15 */
  GPIO_InitStruct.Pin = GPIO_PIN_15;
  GPIO_InitStruct.Mode = GPIO_MODE_OUTPUT_PP;
  GPIO_InitStruct.Pull = GPIO_NOPULL;
  GPIO_InitStruct.Speed = GPIO_SPEED_FREQ_HIGH;
  HAL_GPIO_Init(GPIOA, &GPIO_InitStruct);

  /*Configure GPIO pins : PB4 PB5 PB6 PB8
                           PB9 */
  GPIO_InitStruct.Pin = GPIO_PIN_4|GPIO_PIN_5|GPIO_PIN_6|GPIO_PIN_8
                          |GPIO_PIN_9;
  GPIO_InitStruct.Mode = GPIO_MODE_OUTPUT_PP;
  GPIO_InitStruct.Pull = GPIO_NOPULL;
  GPIO_InitStruct.Speed = GPIO_SPEED_FREQ_HIGH;
  HAL_GPIO_Init(GPIOB, &GPIO_InitStruct);

}

void Error_Handler(void)
{
  __disable_irq();
  while (1)
  {
  }
}
